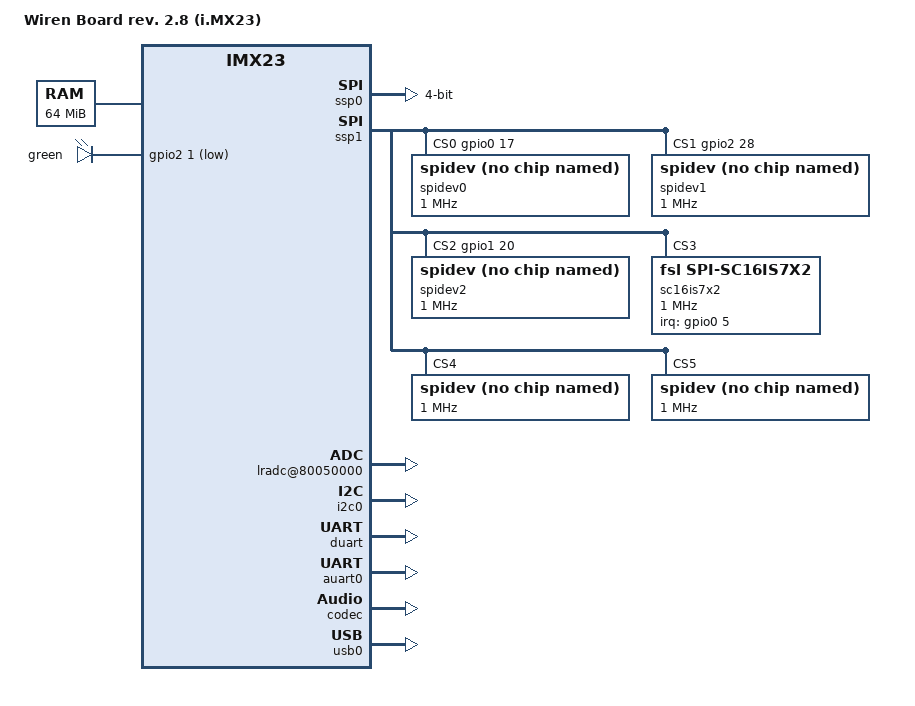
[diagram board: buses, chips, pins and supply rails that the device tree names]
/*
 * Copyright 2012 Freescale Semiconductor, Inc.
 *
 * Author: Fabio Estevam <fabio.estevam@freescale.com>
 *
 * The code contained herein is licensed under the GNU General Public
 * License. You may obtain a copy of the GNU General Public License
 * Version 2 or later at the following locations:
 *
 * http://www.opensource.org/licenses/gpl-license.html
 * http://www.gnu.org/copyleft/gpl.html
 */

/dts-v1/;
/include/ "imx23.dtsi"

/ {
	model = "Wiren Board rev. 2.8 (i.MX23)";
	compatible = "olimex,imx23-olinuxino", "fsl,imx23";

	memory {
		reg = <0x40000000 0x04000000>;
	};

	apb@80000000 {
		apbh@80000000 {
			ssp0: ssp@80010000 {
				compatible = "fsl,imx23-mmc";
				pinctrl-names = "default";
				pinctrl-0 = <&mmc0_4bit_pins_a &mmc0_pins_fixup>;
				bus-width = <4>;
				broken-cd;
				status = "okay";
			};

			pinctrl@80018000 {
				pinctrl-names = "default";
				pinctrl-0 = <&hog_pins_a>;

				hog_pins_a: hog@0 {
					reg = <0>;
					fsl,pinmux-ids = <
						0x2013 /* MX23_PAD_SSP1_DETECT__GPIO_2_1 */
						0x0113 /* MX23_PAD_GPMI_ALE__GPIO_0_17 */
					>;
					fsl,drive-strength = <0>;
					fsl,voltage = <1>;
					fsl,pull-up = <0>;
				};

				led_pin_gpio2_1: led_gpio2_1@0 {
					reg = <0>;
					fsl,pinmux-ids = <
						0x2013 /* MX23_PAD_SSP1_DETECT__GPIO_2_1 */
					>;
					fsl,drive-strength = <0>;
					fsl,voltage = <1>;
					fsl,pull-up = <0>;
				};

				i2c_gpio: i2c_gpio {
					reg = <0>;
					fsl,pinmux-ids = <
						0x0173 // MX23_PAD_GPMI_WPN__GPIO_0_23
						0x0193 // MX23_PAD_GPMI_RDN__GPIO_0_25
					>;
					fsl,pull-up = <1>;
				};

		        i2c0_pins_a: i2c0@0 {
		           reg = <0>;
		           fsl,pinmux-ids = <
		           0x1170 /* MX23_PAD_LCD_ENABLE__LCD_ENABLE */
		           0x1180 /* MX23_PAD_LCD_HSYNC__LCD_HSYNC */
		           >;
		           fsl,drive-strength = <1>;
		           fsl,voltage = <1>;
		           fsl,pull-up = <1>;
		        };

				spi2_pins_nocs: spi2@0 {
					reg = <0>;
					fsl,pinmux-ids = <
						0x0182 /* MX23_PAD_GPMI_WRN__SSP2_SCK */
						0x0142 /* MX23_PAD_GPMI_RDY1__SSP2_CMD */
						0x0002 /* MX23_PAD_GPMI_D00__SSP2_DATA0 */
					>;
					fsl,drive-strength = <1>;
					fsl,voltage = <1>;
					fsl,pull-up = <1>;
				};


			};

			ssp1: ssp@80034000 {
				#address-cells = <1>;
				#size-cells = <0>;
				compatible = "fsl,imx23-spi";
				pinctrl-names = "default";
				pinctrl-0 = <&spi2_pins_nocs>;
				status = "okay";
				cs-gpios = <&gpio0 17 0
							&gpio2 28 0
							&gpio1 20 0
							>;



				spidev0: spidev@0 {
					compatible = "spidev";
					spi-max-frequency = <1000000>;
					reg = <0>;
				};


				spidev1: spidev@1 {
					compatible = "spidev";
					spi-max-frequency = <1000000>;
					reg = <1>;
				};

				spidev2: spidev@2 {
					compatible = "spidev";
					spi-max-frequency = <1000000>;
					reg = <2>;
				};

				sc16is7x2@0 {
					compatible = "fsl,spi-sc16is7x2";
					spi-max-frequency = <1000000>;
					reg = <3>;
					gpio-base = <120>;
					uart-base = <0>;

					interrupt-parent = <&gpio0>;
					interrupts = <5 0>;
					uartclk = <115200>;
				};



				spidev@4 {
					compatible = "spidev";
					spi-max-frequency = <1000000>;
					reg = <4>;
				};

				spidev@5 {
					compatible = "spidev";
					spi-max-frequency = <1000000>;
					reg = <5>;
				};


				/* gpiom1: gpio@4 {
					  compatible = "mcp,mcp23s08";
					  gpio-controller;
					  #gpio-cells = <2>;
					  mcp,spi-present-mask = <0x01>;
					  reg = <5>;
					  spi-max-frequency = <100000>;
				}; */

			};
		};

		apbx@80040000 {
			lradc@80050000 {
				status = "okay";
			};

			i2c0: i2c@80058000 {
				pinctrl-names = "default";
				pinctrl-0 = <&i2c0_pins_a>;
				status = "okay";
			};

			duart: serial@80070000 {
				pinctrl-names = "default";
				pinctrl-0 = <&duart_pins_a>;
				status = "okay";
			};

			auart0: serial@8006c000 {
				pinctrl-names = "default";
				pinctrl-0 = <&auart0_2pins_a>;
				status = "okay";
			};

			usbphy0: usbphy@8007c000 {
				status = "okay";
			};

			codec: mxs-builtin-codec {
				compatible = "fsl,mxs-builtin-codec";
				reg = <0x80048000 0x2000>, <0x8004c000 0x2000>,
					<0x8005c000 0x2000>;
				reg-names = "audioout", "audioin", "rtc";
				clocks = <&clks 31>;
				clock-names = "filt";
			};

			platform_dai: mxs-builtin-cpu-dai {
				compatible = "fsl,mxs-builtin-cpu-dai";
				reg = <0x80048000 0x2000>, <0x8004c000 0x2000>,
				<0x8005c000 0x2000>;
				reg-names = "audioout", "audioin", "rtc";
				interrupts = <8 6 4>;
				dmas = <&dma_apbx 0>, <&dma_apbx 1>;
				dma-names = "rx", "tx";
			};
		};
	};

	ahb@80080000 {
		usb0: usb@80080000 {
		    /*vbus-supply = <&reg_33v_bus>;*/
			status = "okay";
		};
	};


	leds {
		compatible = "gpio-leds";
		pinctrl-names = "default";
		pinctrl-0 = <&led_pin_gpio2_1>;

		user {
			label = "green";
			gpios = <&gpio2 1 1>;
			linux,default-trigger = "default-on";
		};
	};

	mxs-builtin-audio {
		compatible = "fsl,mxs-builtin-audio";
		audio-codec = <&codec>;
		cpu-dai = <&platform_dai>;
	};
};
